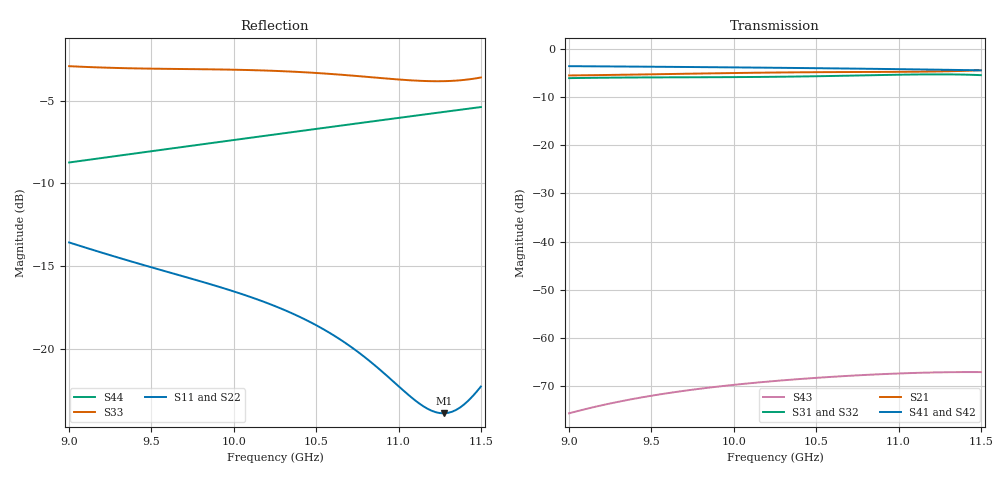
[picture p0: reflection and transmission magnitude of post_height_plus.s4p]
! Generated from PyAEDT SolutionData; AEDT ExportNetworkData workaround
# GHz S MA R 50
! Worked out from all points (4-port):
!   101 points, 9 GHz to 11.5 GHz, reference 50 ohm
!   strongest paths, dB at 9 GHz, 9.625 GHz, 10.25 GHz, 10.88 GHz, 11.5 GHz:
!     S41: -3.6, -3.8, -4.0, -4.2, -4.5
!     S42: -3.6, -3.8, -4.0, -4.2, -4.5
!     S21: -5.6, -5.3, -5.0, -4.8, -4.5
!     S31: -6.1, -5.9, -5.8, -5.5, -5.5
!     S32: -6.1, -5.9, -5.8, -5.5, -5.5
!     S43: -75.6, -71.3, -68.9, -67.5, -67.1
!   lowest |S11| = -23.9 dB at 11.28 GHz (marker M1), VSWR 1.14, Z = 55.7 - j3.62 ohm
!   |S11| at or under -10 dB: start of sweep to end of sweep
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9  0.2097 157.2  0.5274 -171.2  0.4947 -74.6  0.6582 46.0
   0.5274 -171.2  0.2099 157.2  0.4947 -74.5  0.6581 -133.9
   0.4947 -74.6  0.4947 -74.5  0.7146 -149.0  0.0001654 -124.0
   0.6582 46.0  0.6581 -133.9  0.0001654 -124.0  0.3657 -114.2
9.55  0.1735 100.7  0.5436 128.7  0.5037 -166.8  0.6485 -16.3
      0.5436 128.7  0.1739 100.7  0.5037 -166.7  0.6485 163.8
      0.5037 -166.8  0.5037 -166.7  0.7018 84.6  0.0002597 128.2
      0.6485 -16.3  0.6485 163.8  0.0002597 128.2  0.3986 -173.0
9.875  0.1559 68.6  0.5547 94.2  0.5058 140.3  0.642 -51.8
       0.5547 94.2  0.1564 68.6  0.5058 140.4  0.6419 128.3
       0.5058 140.3  0.5058 140.4  0.6988 12.1  0.000309 64.0
       0.642 -51.8  0.6419 128.3  0.000309 64.0  0.4193 153.1
10.2  0.1377 36.7  0.5642 60.2  0.5098 88.2  0.6347 -86.6
      0.5642 60.2  0.1384 36.8  0.5098 88.3  0.6346 93.5
      0.5098 88.2  0.5098 88.3  0.693 -59.2  0.0003518 0.4
      0.6347 -86.6  0.6346 93.5  0.0003518 0.4  0.441 119.5
10.75  0.09821 -13.4  0.5727 4.6  0.5268 -0.4  0.6204 -144.2
       0.5727 4.6  0.09897 -13.4  0.5267 -0.3  0.6203 35.9
       0.5268 -0.4  0.5267 -0.3  0.6672 177.3  0.0004093 -105.9
       0.6204 -144.2  0.6203 35.9  0.0004093 -105.9  0.4799 63.5
11.275  0.06389 -30.4  0.5816 -44.9  0.5411 -89.6  0.604 161.8
        0.5816 -44.9  0.06416 -30.7  0.541 -89.5  0.6041 -18.1
        0.5411 -89.6  0.541 -89.5  0.6438 44.4  0.0004406 154.2
        0.604 161.8  0.6041 -18.1  0.0004406 154.2  0.5198 10.3
11.5  0.07696 -28.2  0.5973 -65.0  0.5311 -130.4  0.5961 138.8
      0.5973 -65.0  0.07677 -28.3  0.5308 -130.2  0.5963 -41.1
      0.5311 -130.4  0.5308 -130.2  0.6605 -19.6  0.0004424 112.4
      0.5961 138.8  0.5963 -41.1  0.0004424 112.4  0.5377 -12.4
